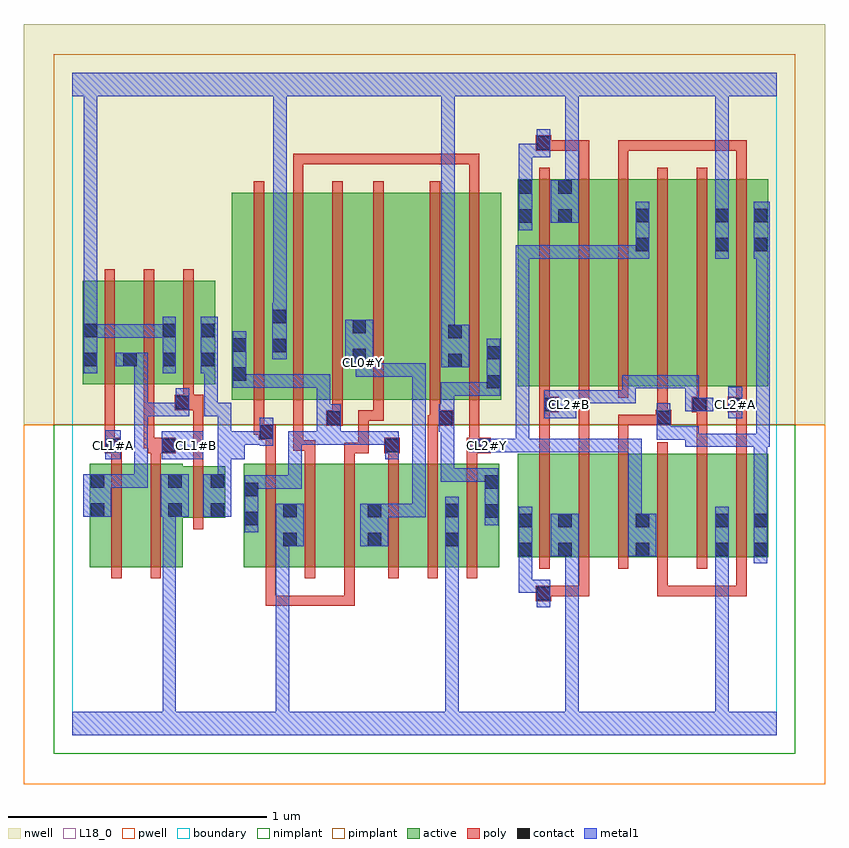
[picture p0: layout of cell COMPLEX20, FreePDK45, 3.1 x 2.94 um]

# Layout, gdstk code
import gdstk
lib = gdstk.Library(unit=1e-6, precision=1e-09)
def R(c, l, rs):  # rectangles x0, y0, x1, y1
    for r in rs: c.add(gdstk.rectangle(r[:2], r[2:], *l))
def A(c, l, x, y, w, h, nx, ny, dx, dy):  # array of equal rectangles
    R(c, l, [(x+i*dx, y+j*dy, x+i*dx+w, y+j*dy+h) for i in range(nx) for j in range(ny)])
active = (1, 0)
pwell = (2, 0)
nwell = (3, 0)
nimplant = (4, 0)
pimplant = (5, 0)
poly = (9, 0)
contact = (10, 0)
metal1 = (11, 0)
L18_0 = (18, 0)
boundary = (235, 0)

complex20 = lib.new_cell('COMPLEX20')
R(complex20, active, [(0.066,0.65,0.246,1.05), (0.246,0.65,0.426,1.05), (0.366,0.65,0.426,1.012), (0.662,0.65,0.87,1.05), (0.81,0.65,0.994,1.05), (0.81,0.65,0.87,0.898), (0.994,0.65,1.196,1.05), (1.136,0.65,1.316,1.05), (1.136,0.65,1.196,0.898), (1.316,0.65,1.496,1.05), (1.436,0.65,1.648,1.05), (1.436,0.65,1.496,0.898), (1.72,0.688,1.78,1.088), (1.72,0.688,1.932,1.088), (1.872,0.688,1.932,0.86), (1.872,0.688,2.052,1.088), (2.052,0.688,2.232,1.088), (2.172,0.688,2.232,0.86), (2.172,0.688,2.356,1.088), (2.356,0.688,2.54,1.088), (2.48,0.688,2.688,1.088), (2.48,0.688,2.54,0.86), (2.628,0.688,2.688,1.088), (0.066,0.756,0.126,1.05), (0.662,0.756,0.722,1.05), (1.588,0.756,1.648,1.05), (0.366,0.84,0.59,1.04), (0.53,0.84,0.59,1.04), (0.616,1.296,0.828,2.096), (0.616,1.296,0.676,2.044), (0.768,1.296,0.828,2.096), (0.768,1.296,0.948,2.096), (0.948,1.296,1.138,2.096), (1.078,1.296,1.138,2.044), (1.078,1.296,1.324,2.096), (1.324,1.296,1.508,2.096), (1.448,1.296,1.656,2.096), (1.448,1.296,1.508,2.044), (1.596,1.296,1.656,2.044), (1.72,1.348,1.78,2.148), (1.72,1.348,1.932,2.148), (1.872,1.348,1.932,2.148), (1.872,1.348,2.052,2.148), (2.052,1.348,2.232,2.148), (2.172,1.348,2.232,2.148), (2.172,1.348,2.356,2.148), (2.356,1.348,2.54,2.148), (2.48,1.348,2.54,2.148), (2.48,1.348,2.688,2.148), (2.628,1.348,2.688,2.148), (0.04,1.356,0.1,1.756), (0.04,1.356,0.252,1.756), (0.192,1.356,0.404,1.756), (0.192,1.356,0.252,1.644), (0.344,1.356,0.404,1.756), (0.344,1.356,0.552,1.756), (0.492,1.356,0.552,1.644)])
R(complex20, pwell, [(-0.188,-0.188,2.908,1.2)])
R(complex20, nwell, [(-0.188,1.2,2.908,2.748)])
R(complex20, nimplant, [(-0.072,-0.072,2.792,1.2)])
R(complex20, pimplant, [(-0.072,1.2,2.792,2.632)])
A(complex20, poly, 1.956, 0.538, 0.04, 0.146, 3, 1, 0.304, 0)
A(complex20, poly, 0.746, 0.606, 0.04, 0.488, 3, 1, 0.152, 0)
A(complex20, poly, 1.22, 0.606, 0.04, 0.488, 3, 1, 0.152, 0)
A(complex20, poly, 1.804, 0.644, 0.04, 0.488, 6, 1, 0.152, 0)
A(complex20, poly, 0.7, 1.252, 0.04, 0.888, 3, 1, 0.152, 0)
A(complex20, poly, 1.804, 1.304, 0.04, 0.888, 6, 1, 0.152, 0)
A(complex20, poly, 0.124, 1.312, 0.04, 0.488, 3, 1, 0.152, 0)
A(complex20, poly, 2.108, 2.258, 0.146, 0.04, 3, 1, 0.106, 0)
A(complex20, poly, 2.214, 2.258, 0.04, 0.04, 3, 1, 0.106, 0)
R(complex20, poly, [(0.746,0.5,0.786,0.646), (0.746,0.5,0.786,0.54), (0.746,0.5,0.786,0.54), (0.746,0.5,0.786,0.54), (0.746,0.5,0.914,0.54), (0.874,0.5,0.914,0.54), (0.874,0.5,0.914,0.54), (0.874,0.5,0.914,0.54), (0.874,0.5,1.09,0.54), (1.05,0.5,1.09,0.646), (1.05,0.5,1.09,0.54), (1.79,0.518,1.85,0.578), (1.81,0.538,1.85,0.578), (1.81,0.538,1.85,0.578), (1.81,0.538,1.996,0.578), (1.956,0.538,1.996,0.578), (2.26,0.538,2.3,0.578), (2.26,0.538,2.36,0.578), (2.32,0.538,2.36,0.578), (2.32,0.538,2.466,0.578), (2.426,0.538,2.604,0.578), (2.426,0.538,2.466,0.578), (2.426,0.538,2.466,0.578), (2.426,0.538,2.466,0.578), (2.564,0.538,2.604,0.578), (0.15,0.606,0.19,1.094), (0.302,0.606,0.342,1.094), (0.466,0.796,0.506,1.084), (0.466,1.044,0.506,1.12), (0.15,1.054,0.19,1.13), (0.302,1.054,0.342,1.13), (0.746,1.054,0.786,1.182), (0.898,1.054,0.938,1.14), (1.05,1.054,1.09,1.13), (1.22,1.054,1.26,1.13), (1.372,1.054,1.412,1.236), (1.524,1.054,1.564,1.13), (0.466,1.08,0.506,1.12), (0.466,1.08,0.506,1.296), (0.124,1.09,0.184,1.15), (0.144,1.09,0.184,1.13), (0.144,1.09,0.19,1.13), (0.29,1.09,0.4,1.15), (1.05,1.09,1.09,1.13), (1.05,1.09,1.144,1.13), (1.104,1.09,1.144,1.13), (1.104,1.09,1.144,1.256), (1.204,1.09,1.264,1.15), (1.524,1.09,1.616,1.15), (1.804,1.092,1.844,1.288), (1.956,1.092,1.996,1.168), (2.108,1.092,2.148,1.238), (2.412,1.092,2.452,1.288), (2.564,1.092,2.604,1.288), (0.852,1.1,0.892,1.292), (0.852,1.1,0.908,1.14), (0.868,1.1,0.908,1.14), (0.868,1.1,0.938,1.14), (0.124,1.11,0.164,1.352), (0.276,1.11,0.316,1.352), (0.276,1.11,0.33,1.15), (0.29,1.11,0.33,1.15), (1.532,1.11,1.572,1.15), (1.532,1.11,1.572,1.15), (1.532,1.11,1.572,1.292), (1.956,1.128,1.996,1.168), (1.956,1.128,1.996,1.168), (1.956,1.128,1.996,1.168), (1.956,1.128,1.996,1.344), (0.72,1.142,0.786,1.202), (0.7,1.162,0.74,1.292), (0.7,1.162,0.76,1.202), (0.72,1.162,0.76,1.202), (0.98,1.196,1.044,1.256), (1.372,1.196,1.42,1.236), (1.38,1.196,1.42,1.236), (1.38,1.196,1.472,1.256), (2.108,1.198,2.148,1.238), (2.108,1.198,2.254,1.238), (2.214,1.198,2.254,1.238), (2.214,1.198,2.294,1.238), (2.254,1.198,2.314,1.258), (1.004,1.216,1.044,1.292), (1.104,1.216,1.144,1.256), (1.104,1.216,1.202,1.256), (1.162,1.216,1.202,1.256), (1.162,1.216,1.202,1.292), (1.38,1.216,1.42,1.292), (2.26,1.218,2.3,1.258), (2.26,1.218,2.3,1.258), (2.26,1.218,2.3,1.344), (1.804,1.248,1.844,1.288), (1.804,1.248,1.844,1.288), (1.804,1.248,1.878,1.308), (2.392,1.248,2.452,1.308), (2.412,1.248,2.452,1.288), (2.412,1.248,2.452,1.288), (2.532,1.248,2.604,1.308), (2.564,1.248,2.604,1.288), (2.564,1.248,2.604,1.288), (1.162,1.252,1.202,2.14), (1.38,1.252,1.42,2.14), (1.532,1.252,1.572,2.14), (0.396,1.256,0.506,1.316), (1.804,1.268,1.844,1.344), (2.412,1.268,2.452,1.344), (2.564,1.268,2.604,1.344), (0.428,1.276,0.468,1.352), (0.852,2.1,0.892,2.246), (1.532,2.1,1.572,2.246), (1.956,2.152,1.996,2.298), (2.108,2.152,2.148,2.298), (2.564,2.152,2.604,2.298), (0.852,2.206,0.892,2.246), (0.852,2.206,0.892,2.246), (0.852,2.206,0.892,2.246), (0.852,2.206,1.09,2.246), (1.05,2.206,1.09,2.246), (1.05,2.206,1.196,2.246), (1.156,2.206,1.196,2.246), (1.156,2.206,1.196,2.246), (1.156,2.206,1.196,2.246), (1.156,2.206,1.348,2.246), (1.308,2.206,1.348,2.246), (1.308,2.206,1.348,2.246), (1.308,2.206,1.348,2.246), (1.308,2.206,1.572,2.246), (1.532,2.206,1.572,2.246), (1.532,2.206,1.572,2.246), (1.532,2.206,1.572,2.246), (1.79,2.258,1.85,2.318), (1.81,2.258,1.85,2.298), (1.81,2.258,1.85,2.298), (1.81,2.258,1.996,2.298), (1.956,2.258,1.996,2.298), (2.108,2.258,2.148,2.298), (2.214,2.258,2.254,2.298), (2.214,2.258,2.254,2.298), (2.426,2.258,2.604,2.298), (2.426,2.258,2.466,2.298), (2.426,2.258,2.466,2.298), (2.564,2.258,2.604,2.298)])
A(complex20, contact, 0.044, 1.426, 0.052, 0.052, 3, 1, 0.152, 0)
R(complex20, contact, [(1.794,0.522,1.846,0.574), (1.724,0.692,1.776,0.744), (1.876,0.692,1.928,0.744), (2.176,0.692,2.228,0.744), (2.484,0.692,2.536,0.744), (2.632,0.692,2.684,0.744), (0.814,0.73,0.866,0.782), (1.14,0.73,1.192,0.782), (1.44,0.73,1.492,0.782), (1.724,0.804,1.776,0.856), (1.876,0.804,1.928,0.856), (2.176,0.804,2.228,0.856), (2.484,0.804,2.536,0.856), (2.632,0.804,2.684,0.856), (0.666,0.812,0.718,0.864), (1.592,0.84,1.644,0.892), (0.814,0.842,0.866,0.894), (1.14,0.842,1.192,0.894), (1.44,0.842,1.492,0.894), (0.07,0.844,0.122,0.896), (0.37,0.844,0.422,0.896), (0.534,0.844,0.586,0.896), (0.666,0.924,0.718,0.976), (1.592,0.952,1.644,1.004), (0.07,0.956,0.122,1.008), (0.37,0.956,0.422,1.008), (0.534,0.956,0.586,1.008), (0.128,1.094,0.18,1.146), (0.344,1.094,0.396,1.146), (1.208,1.094,1.26,1.146), (1.56,1.094,1.612,1.146), (0.724,1.146,0.776,1.198), (0.984,1.2,1.036,1.252), (1.416,1.2,1.468,1.252), (2.258,1.202,2.31,1.254), (1.822,1.252,1.874,1.304), (2.396,1.252,2.448,1.304), (2.536,1.252,2.588,1.304), (0.4,1.26,0.452,1.312), (1.6,1.34,1.652,1.392), (0.62,1.37,0.672,1.422), (1.452,1.422,1.504,1.474), (0.496,1.426,0.548,1.478), (1.082,1.442,1.134,1.494), (1.6,1.452,1.652,1.504), (0.772,1.48,0.824,1.532), (0.62,1.482,0.672,1.534), (1.452,1.534,1.504,1.586), (0.044,1.538,0.096,1.59), (0.348,1.538,0.4,1.59), (0.496,1.538,0.548,1.59), (1.082,1.554,1.134,1.606), (0.772,1.592,0.824,1.644), (2.176,1.87,2.228,1.922), (2.484,1.87,2.536,1.922), (2.632,1.87,2.684,1.922), (1.724,1.98,1.776,2.032), (1.876,1.98,1.928,2.032), (2.176,1.982,2.228,2.034), (2.484,1.982,2.536,2.034), (2.632,1.982,2.684,2.034), (1.724,2.092,1.776,2.144), (1.876,2.092,1.928,2.144), (1.794,2.262,1.846,2.314)])
R(complex20, metal1, [(0,0,2.72,0.092), (0.348,0.04,0.4,0.092), (0.348,0.04,0.4,0.092), (0.348,0.04,0.4,0.896), (0.786,0.04,0.838,0.092), (0.786,0.04,0.838,0.092), (0.786,0.04,0.838,0.092), (0.786,0.04,0.838,0.092), (0.786,0.04,0.838,0.092), (0.786,0.04,0.838,0.092), (0.786,0.04,0.838,0.092), (0.786,0.04,0.838,0.092), (0.786,0.04,0.838,0.782), (1.44,0.04,1.492,0.092), (1.44,0.04,1.492,0.092), (1.44,0.04,1.492,0.092), (1.44,0.04,1.492,0.092), (1.44,0.04,1.492,0.092), (1.44,0.04,1.492,0.092), (1.44,0.04,1.492,0.092), (1.44,0.04,1.492,0.092), (1.44,0.04,1.492,0.092), (1.44,0.04,1.492,0.092), (1.44,0.04,1.492,0.754), (1.904,0.04,1.956,0.092), (1.904,0.04,1.956,0.092), (1.904,0.04,1.956,0.092), (1.904,0.04,1.956,0.092), (1.904,0.04,1.956,0.092), (1.904,0.04,1.956,0.092), (1.904,0.04,1.956,0.092), (1.904,0.04,1.956,0.092), (1.904,0.04,1.956,0.744), (2.484,0.04,2.536,0.092), (2.484,0.04,2.536,0.092), (2.484,0.04,2.536,0.092), (2.484,0.04,2.536,0.092), (2.484,0.04,2.536,0.092), (2.484,0.04,2.536,0.092), (2.484,0.04,2.536,0.092), (2.484,0.04,2.536,0.092), (2.484,0.04,2.536,0.716), (1.794,0.494,1.846,0.602), (1.724,0.55,1.776,0.602), (1.724,0.55,1.846,0.602), (1.724,0.55,1.776,0.716), (1.724,0.664,1.776,0.884), (2.484,0.664,2.536,0.716), (2.484,0.664,2.536,0.716), (2.484,0.664,2.536,0.716), (2.484,0.664,2.536,0.716), (2.484,0.664,2.536,0.884), (2.632,0.664,2.684,0.884), (1.848,0.692,1.956,0.856), (1.904,0.692,1.956,0.744), (1.904,0.692,1.956,0.744), (1.904,0.692,1.956,0.744), (1.904,0.692,1.956,0.744), (2.148,0.692,2.256,0.856), (1.44,0.702,1.492,0.754), (1.44,0.702,1.492,0.754), (1.44,0.702,1.492,0.922), (0.786,0.73,0.838,0.782), (0.786,0.73,0.838,0.782), (0.786,0.73,0.838,0.782), (0.786,0.73,0.838,0.782), (0.786,0.73,0.894,0.894), (1.112,0.73,1.22,0.894), (0.666,0.784,0.718,1.004), (2.148,0.804,2.2,1.146), (1.592,0.812,1.644,1.032), (2.632,0.832,2.684,1.166), (1.168,0.842,1.22,0.894), (1.168,0.842,1.22,0.894), (1.168,0.842,1.364,0.894), (1.312,0.842,1.364,0.894), (1.312,0.842,1.364,1.438), (0.042,0.844,0.15,1.008), (0.342,0.844,0.45,1.008), (0.348,0.844,0.4,0.896), (0.348,0.844,0.4,0.896), (0.348,0.844,0.4,0.896), (0.348,0.844,0.4,0.896), (0.348,0.844,0.4,0.896), (0.348,0.844,0.4,0.896), (0.348,0.844,0.4,0.896), (0.348,0.844,0.4,0.896), (0.348,0.844,0.4,0.896), (0.348,0.844,0.4,0.896), (0.506,0.844,0.614,1.008), (0.666,0.952,0.776,1.004), (0.724,0.952,0.776,1.004), (0.724,0.952,0.886,1.004), (0.834,0.952,0.886,1.004), (0.834,0.952,0.886,1.174), (0.058,0.956,0.11,1.008), (0.058,0.956,0.11,1.008), (0.058,0.956,0.11,1.008), (0.058,0.956,0.11,1.008), (0.058,0.956,0.29,1.008), (0.238,0.956,0.29,1.008), (0.238,0.956,0.29,1.284), (0.562,0.956,0.614,1.118), (1.422,0.98,1.474,1.032), (1.422,0.98,1.578,1.032), (1.422,0.98,1.474,1.224), (1.526,0.98,1.578,1.032), (1.526,0.98,1.644,1.032), (0.126,1.066,0.186,1.178), (0.344,1.066,0.506,1.174), (0.562,1.066,0.666,1.174), (1.208,1.066,1.26,1.174), (1.532,1.094,1.654,1.146), (1.602,1.094,1.654,1.146), (1.602,1.094,1.654,1.146), (1.602,1.094,1.764,1.146), (1.712,1.094,1.764,1.146), (1.712,1.094,1.764,1.146), (1.712,1.094,1.764,1.146), (1.712,1.094,1.886,1.146), (1.712,1.094,1.764,1.894), (1.834,1.094,1.886,1.146), (1.834,1.094,1.886,1.146), (1.834,1.094,1.886,1.146), (1.834,1.094,2.066,1.146), (2.014,1.094,2.066,1.146), (2.014,1.094,2.066,1.146), (2.014,1.094,2.066,1.146), (2.014,1.094,2.2,1.146), (2.148,1.094,2.2,1.146), (2.148,1.094,2.2,1.146), (2.148,1.094,2.2,1.146), (2.368,1.114,2.42,1.166), (2.368,1.114,2.42,1.166), (2.368,1.114,2.53,1.166), (2.368,1.114,2.42,1.194), (2.478,1.114,2.53,1.166), (2.478,1.114,2.53,1.166), (2.478,1.114,2.53,1.166), (2.478,1.114,2.684,1.166), (2.632,1.114,2.694,1.166), (2.642,1.114,2.694,1.894), (0.724,1.118,0.776,1.226), (0.562,1.122,0.614,1.284), (0.614,1.122,0.666,1.174), (0.614,1.122,0.666,1.174), (0.614,1.122,0.776,1.174), (0.834,1.122,0.886,1.174), (0.834,1.122,0.886,1.174), (0.834,1.122,0.886,1.174), (0.834,1.122,0.996,1.174), (0.944,1.122,0.996,1.174), (0.944,1.122,0.996,1.174), (0.944,1.122,0.996,1.174), (0.944,1.122,1.106,1.174), (0.944,1.122,0.996,1.224), (1.054,1.122,1.106,1.174), (1.054,1.122,1.26,1.174), (2.258,1.142,2.42,1.194), (2.258,1.142,2.31,1.282), (0.944,1.172,0.996,1.224), (0.944,1.172,1.036,1.224), (0.944,1.172,0.996,1.394), (0.984,1.172,1.036,1.28), (1.416,1.172,1.468,1.28), (1.416,1.172,1.474,1.224), (1.422,1.172,1.474,1.224), (1.422,1.172,1.474,1.224), (1.422,1.172,1.474,1.224), (1.422,1.172,1.474,1.364), (1.822,1.224,1.946,1.334), (2.534,1.224,2.588,1.346), (0.238,1.232,0.29,1.284), (0.238,1.232,0.342,1.284), (0.238,1.232,0.29,1.478), (0.29,1.232,0.342,1.284), (0.29,1.232,0.438,1.284), (0.386,1.232,0.438,1.284), (0.386,1.232,0.452,1.284), (0.4,1.232,0.452,1.34), (0.51,1.232,0.614,1.284), (0.51,1.232,0.562,1.45), (2.368,1.252,2.42,1.304), (2.368,1.252,2.476,1.304), (2.368,1.252,2.42,1.392), (1.894,1.282,1.946,1.334), (1.894,1.282,1.946,1.334), (1.894,1.282,2.066,1.334), (2.014,1.282,2.066,1.334), (2.014,1.282,2.066,1.334), (2.014,1.282,2.066,1.334), (2.014,1.282,2.176,1.334), (2.124,1.282,2.176,1.334), (2.124,1.282,2.176,1.334), (2.124,1.282,2.176,1.392), (1.422,1.312,1.474,1.364), (1.422,1.312,1.652,1.364), (1.6,1.312,1.652,1.364), (1.6,1.312,1.652,1.364), (1.6,1.312,1.652,1.532), (2.124,1.34,2.31,1.392), (2.258,1.34,2.31,1.392), (2.258,1.34,2.42,1.392), (0.62,1.342,0.672,1.562), (0.62,1.342,0.776,1.394), (0.724,1.342,0.776,1.394), (0.724,1.342,0.886,1.394), (0.834,1.342,0.886,1.394), (0.834,1.342,0.886,1.394), (0.834,1.342,0.886,1.394), (0.834,1.342,0.996,1.394), (0.944,1.342,0.996,1.394), (1.094,1.386,1.146,1.438), (1.094,1.386,1.146,1.438), (1.094,1.386,1.146,1.494), (1.094,1.386,1.364,1.438), (1.312,1.386,1.364,1.438), (1.312,1.386,1.364,1.438), (1.312,1.386,1.364,1.438), (0.044,1.398,0.096,1.618), (0.348,1.398,0.4,1.618), (0.496,1.398,0.562,1.618), (1.424,1.422,1.532,1.586), (0.168,1.426,0.29,1.478), (1.054,1.442,1.162,1.606), (1.094,1.442,1.146,1.494), (0.772,1.452,0.828,1.672), (1.424,1.534,1.476,1.586), (1.424,1.534,1.476,1.586), (1.424,1.534,1.476,1.586), (1.424,1.534,1.476,1.586), (1.424,1.534,1.476,2.52), (0.044,1.536,0.232,1.588), (0.18,1.536,0.232,1.588), (0.18,1.536,0.232,1.588), (0.18,1.536,0.232,1.588), (0.18,1.536,0.342,1.588), (0.29,1.536,0.342,1.588), (0.29,1.536,0.4,1.588), (0.044,1.566,0.096,1.618), (0.044,1.566,0.096,1.618), (0.044,1.566,0.096,1.618), (0.044,1.566,0.096,1.618), (0.044,1.566,0.096,1.618), (0.044,1.566,0.096,1.618), (0.044,1.566,0.096,1.618), (0.044,1.566,0.096,1.618), (0.044,1.566,0.096,2.52), (0.776,1.62,0.828,1.672), (0.776,1.62,0.828,1.672), (0.776,1.62,0.828,1.672), (0.776,1.62,0.828,1.672), (0.776,1.62,0.828,1.672), (0.776,1.62,0.828,1.672), (0.776,1.62,0.828,2.52), (1.712,1.842,1.764,1.894), (1.712,1.842,1.764,1.894), (1.712,1.842,1.764,1.894), (1.712,1.842,1.886,1.894), (1.834,1.842,1.886,1.894), (1.834,1.842,2.066,1.894), (2.014,1.842,2.066,1.894), (2.014,1.842,2.066,1.894), (2.014,1.842,2.066,1.894), (2.014,1.842,2.176,1.894), (2.124,1.842,2.176,1.894), (2.124,1.842,2.228,1.894), (2.176,1.842,2.228,2.062), (2.484,1.842,2.536,2.062), (2.632,1.842,2.694,2.062), (2.642,1.842,2.694,1.894), (2.642,1.842,2.694,1.894), (1.724,1.952,1.776,2.172), (1.848,1.98,1.956,2.144), (2.484,2.01,2.536,2.062), (2.484,2.01,2.536,2.062), (2.484,2.01,2.536,2.52), (1.904,2.092,1.956,2.144), (1.904,2.092,1.956,2.144), (1.904,2.092,1.956,2.144), (1.904,2.092,1.956,2.144), (1.904,2.092,1.956,2.52), (1.724,2.12,1.776,2.286), (1.724,2.234,1.776,2.286), (1.724,2.234,1.846,2.286), (1.794,2.234,1.846,2.342), (0,2.468,2.72,2.56), (0.044,2.468,0.096,2.52), (0.044,2.468,0.096,2.52), (0.044,2.468,0.096,2.52), (0.044,2.468,0.096,2.52), (0.044,2.468,0.096,2.52), (0.044,2.468,0.096,2.52), (0.044,2.468,0.096,2.52), (0.044,2.468,0.096,2.52), (0.776,2.468,0.828,2.52), (0.776,2.468,0.828,2.52), (1.424,2.468,1.476,2.52), (1.424,2.468,1.476,2.52), (1.424,2.468,1.476,2.52), (1.424,2.468,1.476,2.52), (1.904,2.468,1.956,2.52), (1.904,2.468,1.956,2.52), (1.904,2.468,1.956,2.52), (1.904,2.468,1.956,2.52), (2.484,2.468,2.536,2.52), (2.484,2.468,2.536,2.52), (2.484,2.468,2.536,2.52), (2.484,2.468,2.536,2.52), (2.484,2.468,2.536,2.52), (2.484,2.468,2.536,2.52)])
A(complex20, L18_0, 1.094, 1.386, 0.052, 0.052, 1, 3, 0, 0.028)
R(complex20, L18_0, [(0,0,2.72,0.092), (0.348,0.04,0.4,0.092), (0.348,0.04,0.4,0.092), (0.348,0.04,0.4,0.896), (0.786,0.04,0.838,0.092), (0.786,0.04,0.838,0.092), (0.786,0.04,0.838,0.092), (0.786,0.04,0.838,0.092), (0.786,0.04,0.838,0.092), (0.786,0.04,0.838,0.092), (0.786,0.04,0.838,0.092), (0.786,0.04,0.838,0.092), (0.786,0.04,0.838,0.782), (1.44,0.04,1.492,0.092), (1.44,0.04,1.492,0.092), (1.44,0.04,1.492,0.092), (1.44,0.04,1.492,0.092), (1.44,0.04,1.492,0.092), (1.44,0.04,1.492,0.092), (1.44,0.04,1.492,0.092), (1.44,0.04,1.492,0.092), (1.44,0.04,1.492,0.092), (1.44,0.04,1.492,0.092), (1.44,0.04,1.492,0.754), (1.904,0.04,1.956,0.092), (1.904,0.04,1.956,0.092), (1.904,0.04,1.956,0.092), (1.904,0.04,1.956,0.092), (1.904,0.04,1.956,0.092), (1.904,0.04,1.956,0.092), (1.904,0.04,1.956,0.092), (1.904,0.04,1.956,0.092), (1.904,0.04,1.956,0.744), (2.484,0.04,2.536,0.092), (2.484,0.04,2.536,0.092), (2.484,0.04,2.536,0.092), (2.484,0.04,2.536,0.092), (2.484,0.04,2.536,0.092), (2.484,0.04,2.536,0.092), (2.484,0.04,2.536,0.092), (2.484,0.04,2.536,0.092), (2.484,0.04,2.536,0.716), (2.484,0.664,2.536,0.884), (2.484,0.664,2.536,0.716), (2.484,0.664,2.536,0.716), (2.484,0.664,2.536,0.716), (2.484,0.664,2.536,0.716), (1.848,0.692,1.956,0.856), (1.904,0.692,1.956,0.744), (1.904,0.692,1.956,0.744), (1.904,0.692,1.956,0.744), (1.904,0.692,1.956,0.744), (2.148,0.692,2.256,0.856), (1.44,0.702,1.492,0.922), (1.44,0.702,1.492,0.754), (1.44,0.702,1.492,0.754), (0.786,0.73,0.838,0.782), (0.786,0.73,0.838,0.782), (0.786,0.73,0.838,0.782), (0.786,0.73,0.838,0.782), (0.786,0.73,0.894,0.894), (1.112,0.73,1.22,0.894), (2.148,0.804,2.2,1.146), (1.168,0.842,1.22,0.894), (1.168,0.842,1.22,0.894), (1.168,0.842,1.364,0.894), (1.312,0.842,1.364,0.894), (1.312,0.842,1.364,1.438), (0.342,0.844,0.45,1.008), (0.348,0.844,0.4,0.896), (0.348,0.844,0.4,0.896), (0.348,0.844,0.4,0.896), (0.348,0.844,0.4,0.896), (0.348,0.844,0.4,0.896), (0.348,0.844,0.4,0.896), (0.348,0.844,0.4,0.896), (0.348,0.844,0.4,0.896), (0.348,0.844,0.4,0.896), (0.348,0.844,0.4,0.896), (0.506,0.844,0.614,1.008), (0.562,0.956,0.614,1.118), (0.126,1.066,0.186,1.178), (0.344,1.066,0.506,1.174), (0.562,1.066,0.666,1.174), (0.134,1.094,0.186,1.146), (0.454,1.094,0.506,1.146), (0.614,1.094,0.666,1.146), (1.532,1.094,1.654,1.146), (1.574,1.094,1.626,1.146), (1.602,1.094,1.654,1.146), (1.602,1.094,1.654,1.146), (1.602,1.094,1.764,1.146), (1.712,1.094,1.764,1.146), (1.712,1.094,1.764,1.146), (1.712,1.094,1.764,1.146), (1.712,1.094,1.764,1.894), (1.712,1.094,1.886,1.146), (1.834,1.094,1.886,1.146), (1.834,1.094,1.886,1.146), (1.834,1.094,1.886,1.146), (1.834,1.094,2.066,1.146), (2.014,1.094,2.066,1.146), (2.014,1.094,2.066,1.146), (2.014,1.094,2.066,1.146), (2.014,1.094,2.2,1.146), (2.148,1.094,2.2,1.146), (2.148,1.094,2.2,1.146), (2.148,1.094,2.2,1.146), (0.724,1.118,0.776,1.226), (0.562,1.122,0.614,1.284), (0.614,1.122,0.666,1.174), (0.614,1.122,0.666,1.174), (0.614,1.122,0.776,1.174), (1.822,1.224,1.946,1.334), (2.534,1.224,2.588,1.346), (0.51,1.232,0.614,1.284), (0.51,1.232,0.562,1.45), (2.368,1.252,2.42,1.304), (2.368,1.252,2.42,1.392), (2.368,1.252,2.476,1.304), (1.894,1.254,1.946,1.306), (2.534,1.254,2.586,1.306), (1.894,1.282,1.946,1.334), (1.894,1.282,1.946,1.334), (1.894,1.282,2.066,1.334), (2.014,1.282,2.066,1.334), (2.014,1.282,2.066,1.334), (2.014,1.282,2.066,1.334), (2.014,1.282,2.176,1.334), (2.124,1.282,2.176,1.334), (2.124,1.282,2.176,1.334), (2.124,1.282,2.176,1.392), (2.124,1.34,2.31,1.392), (2.258,1.34,2.31,1.392), (2.258,1.34,2.42,1.392), (1.094,1.386,1.146,1.438), (1.094,1.386,1.146,1.494), (1.094,1.386,1.364,1.438), (1.312,1.386,1.364,1.438), (1.312,1.386,1.364,1.438), (1.312,1.386,1.364,1.438), (0.044,1.398,0.096,1.618), (0.348,1.398,0.4,1.618), (0.496,1.398,0.562,1.618), (1.424,1.422,1.532,1.586), (1.054,1.442,1.162,1.606), (0.772,1.452,0.828,1.672), (1.424,1.534,1.476,1.586), (1.424,1.534,1.476,1.586), (1.424,1.534,1.476,1.586), (1.424,1.534,1.476,1.586), (1.424,1.534,1.476,2.52), (0.044,1.536,0.232,1.588), (0.18,1.536,0.232,1.588), (0.18,1.536,0.232,1.588), (0.18,1.536,0.232,1.588), (0.18,1.536,0.342,1.588), (0.29,1.536,0.342,1.588), (0.29,1.536,0.4,1.588), (0.044,1.566,0.096,1.618), (0.044,1.566,0.096,1.618), (0.044,1.566,0.096,1.618), (0.044,1.566,0.096,1.618), (0.044,1.566,0.096,1.618), (0.044,1.566,0.096,1.618), (0.044,1.566,0.096,1.618), (0.044,1.566,0.096,1.618), (0.044,1.566,0.096,2.52), (0.776,1.62,0.828,1.672), (0.776,1.62,0.828,1.672), (0.776,1.62,0.828,1.672), (0.776,1.62,0.828,1.672), (0.776,1.62,0.828,1.672), (0.776,1.62,0.828,1.672), (0.776,1.62,0.828,2.52), (1.712,1.842,1.764,1.894), (1.712,1.842,1.764,1.894), (1.712,1.842,1.764,1.894), (1.712,1.842,1.886,1.894), (1.834,1.842,1.886,1.894), (1.834,1.842,2.066,1.894), (2.014,1.842,2.066,1.894), (2.014,1.842,2.066,1.894), (2.014,1.842,2.066,1.894), (2.014,1.842,2.176,1.894), (2.124,1.842,2.176,1.894), (2.124,1.842,2.228,1.894), (2.176,1.842,2.228,2.062), (2.484,1.842,2.536,2.062), (1.848,1.98,1.956,2.144), (2.484,2.01,2.536,2.062), (2.484,2.01,2.536,2.062), (2.484,2.01,2.536,2.52), (1.904,2.092,1.956,2.144), (1.904,2.092,1.956,2.144), (1.904,2.092,1.956,2.144), (1.904,2.092,1.956,2.144), (1.904,2.092,1.956,2.52), (0,2.468,2.72,2.56), (0.044,2.468,0.096,2.52), (0.044,2.468,0.096,2.52), (0.044,2.468,0.096,2.52), (0.044,2.468,0.096,2.52), (0.044,2.468,0.096,2.52), (0.044,2.468,0.096,2.52), (0.044,2.468,0.096,2.52), (0.044,2.468,0.096,2.52), (0.776,2.468,0.828,2.52), (0.776,2.468,0.828,2.52), (1.424,2.468,1.476,2.52), (1.424,2.468,1.476,2.52), (1.424,2.468,1.476,2.52), (1.424,2.468,1.476,2.52), (1.904,2.468,1.956,2.52), (1.904,2.468,1.956,2.52), (1.904,2.468,1.956,2.52), (1.904,2.468,1.956,2.52), (2.484,2.468,2.536,2.52), (2.484,2.468,2.536,2.52), (2.484,2.468,2.536,2.52), (2.484,2.468,2.536,2.52), (2.484,2.468,2.536,2.52), (2.484,2.468,2.536,2.52)])
R(complex20, boundary, [(0,0,2.72,2.56)])
complex20.add(gdstk.Label('CL0#Y', (1.12,1.44), layer=11, texttype=0))
complex20.add(gdstk.Label('CL1#A', (0.16,1.12), layer=11, texttype=0))
complex20.add(gdstk.Label('CL1#B', (0.48,1.12), layer=11, texttype=0))
complex20.add(gdstk.Label('CL1#Y', (0.64,1.12), layer=11, texttype=0))
complex20.add(gdstk.Label('CL2#A', (2.56,1.28), layer=11, texttype=0))
complex20.add(gdstk.Label('CL2#B', (1.92,1.28), layer=11, texttype=0))
complex20.add(gdstk.Label('CL2#Y', (1.6,1.12), layer=11, texttype=0))

lib.write_gds('COMPLEX20.gds')
